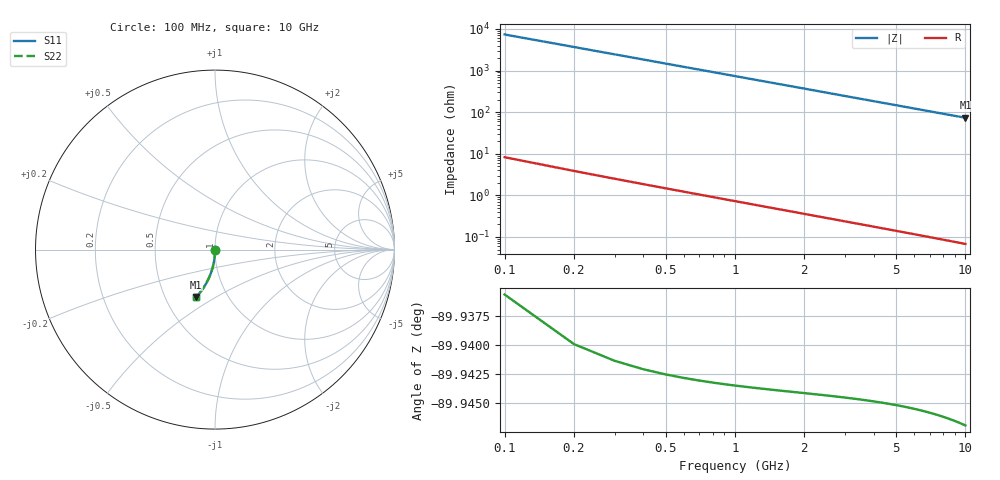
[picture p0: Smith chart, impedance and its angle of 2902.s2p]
# Hz S RI R 50.00
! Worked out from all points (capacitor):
!   100 points, 100 MHz to 10 GHz, reference 50 ohm
!   read as one part in shunt: C = 216 fF near 100 MHz
!   lowest |Z| = 73.4 ohm at 10 GHz (marker M1)
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1e8  0.000142 -0.00295  0.9998 -0.00383  0.9998 -0.00383  0.000142 -0.00295
2e8  0.000106 -0.00591  0.9998 -0.00766  0.9998 -0.00766  0.000106 -0.00591
3e8  4.71e-05 -0.00886  0.9997 -0.0115  0.9997 -0.0115  4.71e-05 -0.00886
4e8  -3.48e-05 -0.0118  0.9996 -0.0153  0.9996 -0.0153  -3.48e-05 -0.0118
5e8  -0.000139 -0.0148  0.9995 -0.0192  0.9995 -0.0192  -0.000139 -0.0148
6e8  -0.000267 -0.0177  0.9994 -0.023  0.9994 -0.023  -0.000267 -0.0177
7e8  -0.000417 -0.0207  0.9992 -0.0268  0.9992 -0.0268  -0.000417 -0.0207
8e8  -0.000589 -0.0236  0.9991 -0.0306  0.9991 -0.0306  -0.000589 -0.0236
9e8  -0.000784 -0.0266  0.9989 -0.0345  0.9989 -0.0345  -0.000784 -0.0266
1.1e9  -0.00124 -0.0325  0.9984 -0.0421  0.9984 -0.0421  -0.00124 -0.0325
1.4e9  -0.0021 -0.0413  0.9975 -0.0536  0.9975 -0.0536  -0.0021 -0.0413
1.8e9  -0.00356 -0.053  0.996 -0.0688  0.996 -0.0688  -0.00356 -0.053
2.1e9  -0.00489 -0.0618  0.9946 -0.0802  0.9946 -0.0802  -0.00489 -0.0618
2.5e9  -0.00697 -0.0734  0.9925 -0.0954  0.9925 -0.0954  -0.00697 -0.0734
2.9e9  -0.00941 -0.085  0.9899 -0.1105  0.9899 -0.1105  -0.00941 -0.085
3.4e9  -0.0129 -0.0993  0.9863 -0.1292  0.9863 -0.1292  -0.0129 -0.0993
4.2e9  -0.0197 -0.1218  0.9792 -0.1589  0.9792 -0.1589  -0.0197 -0.1218
5.1e9  -0.029 -0.1466  0.9697 -0.1916  0.9697 -0.1916  -0.029 -0.1466
5.9e9  -0.0385 -0.1679  0.9598 -0.2201  0.9598 -0.2201  -0.0385 -0.1679
6.7e9  -0.0493 -0.1885  0.9486 -0.2478  0.9486 -0.2478  -0.0493 -0.1885
8.4e9  -0.0758 -0.2294  0.921 -0.3041  0.921 -0.3041  -0.0758 -0.2294
1e10  -0.1048 -0.264  0.8908 -0.3532  0.8908 -0.3532  -0.1048 -0.264
